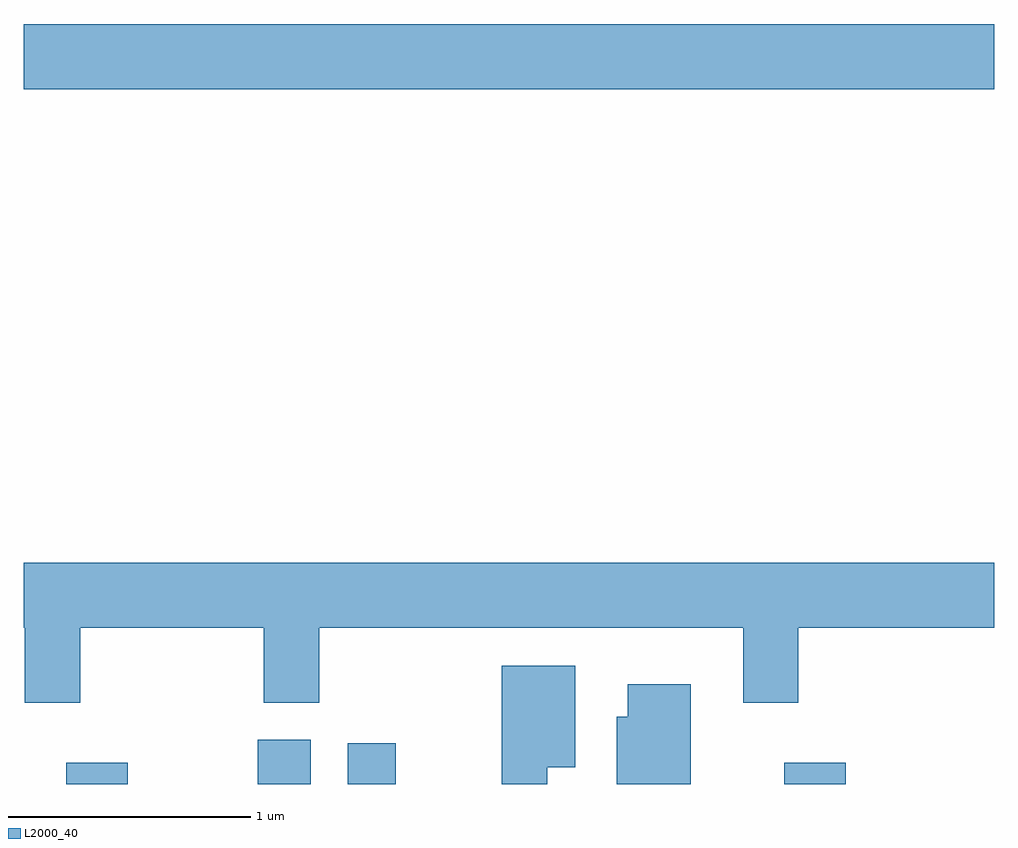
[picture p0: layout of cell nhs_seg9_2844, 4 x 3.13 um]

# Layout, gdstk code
import gdstk
lib = gdstk.Library(unit=1e-6, precision=1e-09)
def R(c, l, rs):  # rectangles x0, y0, x1, y1
    for r in rs: c.add(gdstk.rectangle(r[:2], r[2:], *l))
def P(c, l, *ps):  # polygons
    for p in ps: c.add(gdstk.Polygon(p, *l))
L2000_40 = (2000, 40)

nhs_seg9_2844 = lib.new_cell('nhs_seg9_2844')
R(nhs_seg9_2844, L2000_40, [(267.786,2064.432,268.039,2064.519), (268.576,2064.432,268.794,2064.614), (268.946,2064.432,269.144,2064.599), (270.746,2064.432,270.999,2064.519), (267.611,2067.296,271.611,2067.564)])
P(nhs_seg9_2844, L2000_40, [(267.844,2065.076),(268.601,2065.076),(268.601,2064.766),(268.829,2064.766),(268.829,2065.076),(270.576,2065.076),(270.576,2064.766),(270.804,2064.766),(270.804,2065.076),(271.611,2065.076),(271.611,2065.344),(267.611,2065.344),(267.611,2065.076),(267.616,2065.076),(267.616,2064.766),(267.844,2064.766)],
  [(269.769,2064.501),(269.884,2064.501),(269.884,2064.919),(269.581,2064.919),(269.581,2064.432),(269.769,2064.432)],
  [(270.359,2064.844),(270.101,2064.844),(270.101,2064.709),(270.056,2064.709),(270.056,2064.432),(270.359,2064.432)])

lib.write_gds('nhs_seg9_2844.gds')
